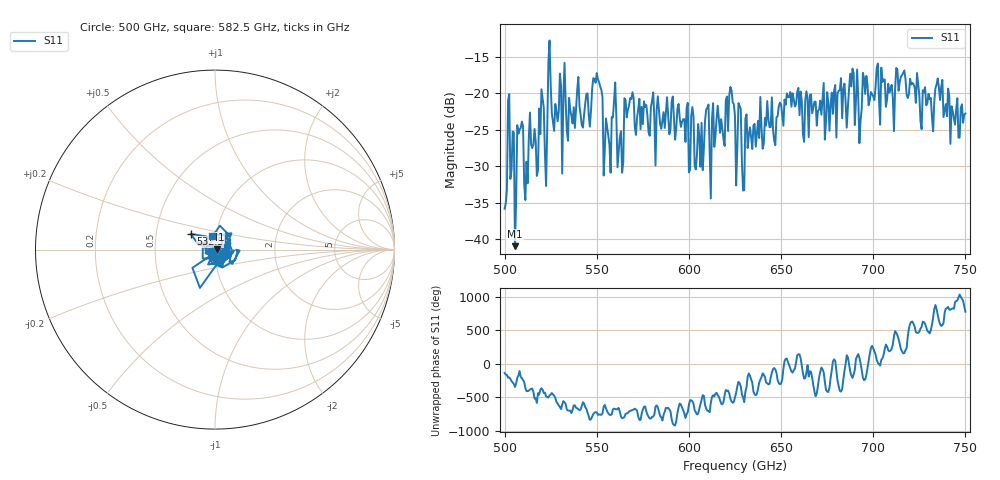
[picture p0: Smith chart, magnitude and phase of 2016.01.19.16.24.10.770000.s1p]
!Created with skrf (http://scikit-rf.org).
# GHz S RI R 50.0
!freq ReS11 ImS11
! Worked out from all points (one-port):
!   401 points, 500 GHz to 750 GHz, reference 50 ohm
!   lowest |S11| = -40.9 dB at 505.6 GHz (marker M1), VSWR 1.02, Z = 50.9 + j0.262 ohm
!   |S11| at or under -10 dB: start of sweep to end of sweep
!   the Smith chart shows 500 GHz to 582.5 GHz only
!   S11 on the Smith chart (normalised r, x): 500 GHz: 0.98, -0.02; 532.5 GHz: 0.75, +0.14; 582.5 GHz: 0.96, +0.15
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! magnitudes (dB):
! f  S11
! 500 GHz  -35.8
! 503.1 GHz  -31.7
! 505.6 GHz  -40.9
! 508.1 GHz  -25.0
! 511.9 GHz  -29.4
! 520 GHz  -19.5
! 521.9 GHz  -28.3
! 524.4 GHz  -12.8
! 527.5 GHz  -21.5
! 531.2 GHz  -31.0
! 532.5 GHz  -15.9
! 542.5 GHz  -24.7
! 550 GHz  -17.2
! 555 GHz  -23.5
! 559.4 GHz  -21.1
! 562.5 GHz  -26.0
! 568.8 GHz  -20.8
! 582.5 GHz  -22.3
! 593.8 GHz  -22.2
! 606.9 GHz  -24.1
! 623.1 GHz  -19.6
! 625 GHz  -23.1
! 630 GHz  -33.3
! 656.2 GHz  -20.0
! 675 GHz  -19.8
! 687.5 GHz  -17.3
! 718.8 GHz  -20.7
! 750 GHz  -22.8
